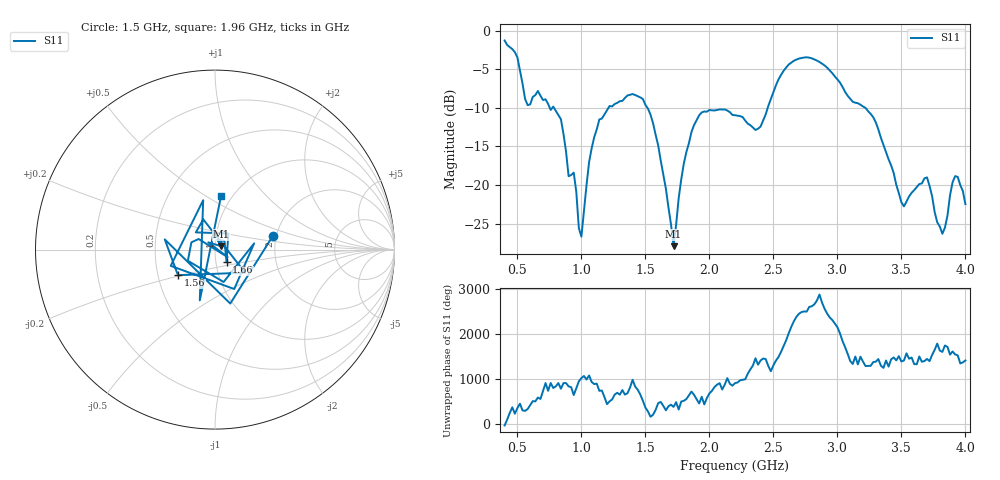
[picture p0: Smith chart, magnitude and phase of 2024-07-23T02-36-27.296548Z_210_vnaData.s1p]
!Created with skrf (http://scikit-rf.org).
# Hz S RI R 50.0
!freq ReS11 ImS11
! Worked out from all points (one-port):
!   181 points, 400 MHz to 4 GHz, reference 50 ohm
!   lowest |S11| = -27.9 dB at 1.72 GHz (marker M1), VSWR 1.08, Z = 53.6 + j2 ohm
!   |S11| at or under -10 dB: 785.7 MHz to 1.211 GHz (425.4 MHz wide, 42.6 % of centre); 1.516 GHz to 2.455 GHz (939.6 MHz wide, 47.3 % of centre); 3.219 GHz to end of sweep (the widest 3 of 4)
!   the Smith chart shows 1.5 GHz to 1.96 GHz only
!   S11 on the Smith chart (normalised r, x): 1.5 GHz: 1.91, +0.33; 1.56 GHz: 0.63, -0.19; 1.66 GHz: 1.13, -0.16; 1.96 GHz: 0.89, +0.58
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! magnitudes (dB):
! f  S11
! 400 MHz  -1.3
! 500 MHz  -3.5
! 580 MHz  -9.6
! 660 MHz  -7.8
! 860 MHz  -13.4
! 900 MHz  -18.9
! 940 MHz  -18.4
! 1 GHz  -26.7
! 1.1 GHz  -13.8
! 1.3 GHz  -9.1
! 1.5 GHz  -9.6
! 1.56 GHz  -12.0
! 1.66 GHz  -20.5
! 1.72 GHz  -27.9
! 1.76 GHz  -21.7
! 1.86 GHz  -13.1
! 1.96 GHz  -10.5
! 2.2 GHz  -11.0
! 2.4 GHz  -12.4
! 2.66 GHz  -3.9
! 3.1 GHz  -8.8
! 3.28 GHz  -11.2
! 3.5 GHz  -22.2
! 3.56 GHz  -21.5
! 3.7 GHz  -19.0
! 3.82 GHz  -26.3
! 3.92 GHz  -18.8
! 4 GHz  -22.5
